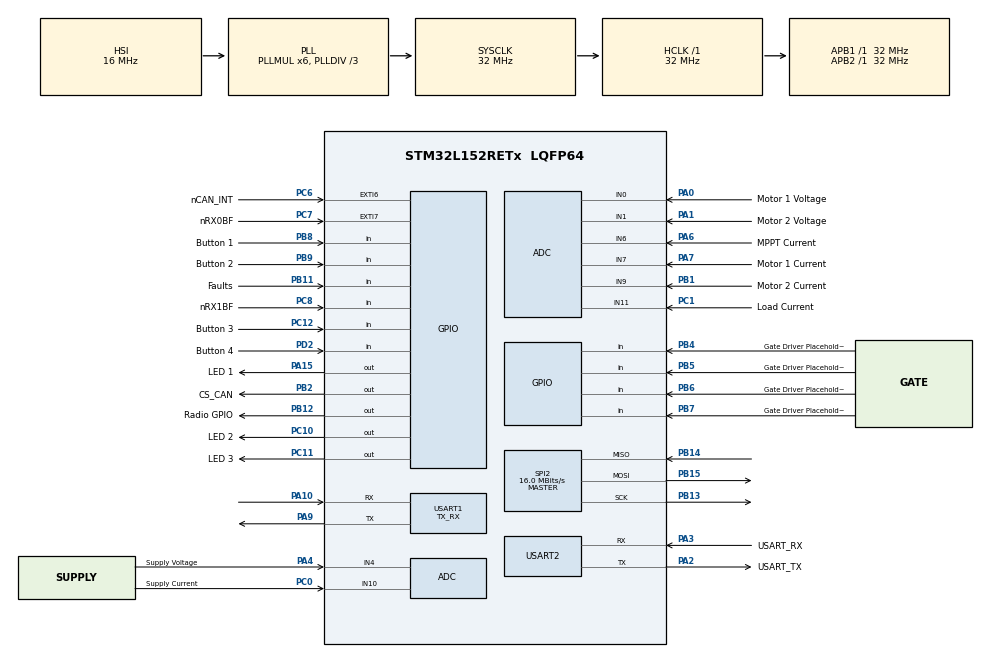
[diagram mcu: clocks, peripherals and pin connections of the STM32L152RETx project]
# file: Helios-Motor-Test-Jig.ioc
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ADC.Channel-0\#ChannelRegularConversion=ADC_CHANNEL_0
ADC.Channel-1\#ChannelRegularConversion=ADC_CHANNEL_1
ADC.Channel-2\#ChannelRegularConversion=ADC_CHANNEL_4
ADC.Channel-3\#ChannelRegularConversion=ADC_CHANNEL_6
ADC.Channel-5\#ChannelRegularConversion=ADC_CHANNEL_7
ADC.Channel-6\#ChannelRegularConversion=ADC_CHANNEL_9
ADC.Channel-7\#ChannelRegularConversion=ADC_CHANNEL_10
ADC.Channel-8\#ChannelRegularConversion=ADC_CHANNEL_11
ADC.ClockPrescaler=ADC_CLOCK_ASYNC_DIV1
ADC.ContinuousConvMode=DISABLE
ADC.DMAContinuousRequests=ENABLE
ADC.EOCSelection=ADC_EOC_SINGLE_CONV
ADC.EnableAnalogWatchDog=false
ADC.ExternalTrigConv=ADC_EXTERNALTRIGCONV_T6_TRGO
ADC.ExternalTrigConvEdge=ADC_EXTERNALTRIGCONVEDGE_RISING
ADC.NbrOfConversion=8
ADC.NbrOfConversionFlag=1
ADC.Rank-0\#ChannelRegularConversion=1
ADC.Rank-1\#ChannelRegularConversion=2
ADC.Rank-2\#ChannelRegularConversion=3
ADC.Rank-3\#ChannelRegularConversion=4
ADC.Rank-5\#ChannelRegularConversion=5
ADC.Rank-6\#ChannelRegularConversion=6
ADC.Rank-7\#ChannelRegularConversion=7
ADC.Rank-8\#ChannelRegularConversion=8
ADC.SamplingTime-0\#ChannelRegularConversion=ADC_SAMPLETIME_4CYCLES
ADC.SamplingTime-1\#ChannelRegularConversion=ADC_SAMPLETIME_4CYCLES
ADC.SamplingTime-2\#ChannelRegularConversion=ADC_SAMPLETIME_4CYCLES
ADC.SamplingTime-3\#ChannelRegularConversion=ADC_SAMPLETIME_4CYCLES
ADC.SamplingTime-5\#ChannelRegularConversion=ADC_SAMPLETIME_4CYCLES
ADC.SamplingTime-6\#ChannelRegularConversion=ADC_SAMPLETIME_4CYCLES
ADC.SamplingTime-7\#ChannelRegularConversion=ADC_SAMPLETIME_4CYCLES
ADC.SamplingTime-8\#ChannelRegularConversion=ADC_SAMPLETIME_4CYCLES
ADC.ScanConvMode=ADC_SCAN_ENABLE
Dma.ADC.0.Direction=DMA_PERIPH_TO_MEMORY
Dma.ADC.0.Instance=DMA1_Channel1
Dma.ADC.0.MemDataAlignment=DMA_MDATAALIGN_HALFWORD
Dma.ADC.0.MemInc=DMA_MINC_ENABLE
Dma.ADC.0.Mode=DMA_CIRCULAR
Dma.ADC.0.PeriphDataAlignment=DMA_PDATAALIGN_HALFWORD
Dma.ADC.0.PeriphInc=DMA_PINC_DISABLE
Dma.ADC.0.Priority=DMA_PRIORITY_HIGH
Dma.Request0=ADC
Dma.Request1=USART2_RX
Dma.Request2=USART1_TX
Dma.USART1_TX.2.Direction=DMA_MEMORY_TO_PERIPH
Dma.USART1_TX.2.Instance=DMA1_Channel4
Dma.USART1_TX.2.MemDataAlignment=DMA_MDATAALIGN_BYTE
Dma.USART1_TX.2.MemInc=DMA_MINC_ENABLE
Dma.USART1_TX.2.Mode=DMA_NORMAL
Dma.USART1_TX.2.PeriphDataAlignment=DMA_PDATAALIGN_BYTE
Dma.USART1_TX.2.PeriphInc=DMA_PINC_DISABLE
Dma.USART1_TX.2.Priority=DMA_PRIORITY_VERY_HIGH
Dma.USART2_RX.1.Direction=DMA_PERIPH_TO_MEMORY
Dma.USART2_RX.1.Instance=DMA1_Channel6
Dma.USART2_RX.1.MemDataAlignment=DMA_MDATAALIGN_BYTE
Dma.USART2_RX.1.MemInc=DMA_MINC_ENABLE
Dma.USART2_RX.1.Mode=DMA_NORMAL
Dma.USART2_RX.1.PeriphDataAlignment=DMA_PDATAALIGN_BYTE
Dma.USART2_RX.1.PeriphInc=DMA_PINC_DISABLE
Dma.USART2_RX.1.Priority=DMA_PRIORITY_LOW
Mcu.Family=STM32L1
Mcu.Name=STM32L152RETx
Mcu.Package=LQFP64
NVIC.ADC1_IRQn=true\:0\:0\:false\:false\:true\:true\:true\:true
NVIC.DMA1_Channel1_IRQn=true\:0\:0\:false\:false\:true\:false\:true\:true
NVIC.DMA1_Channel4_IRQn=true\:0\:0\:false\:false\:true\:false\:true\:true
NVIC.DMA1_Channel6_IRQn=true\:0\:0\:false\:false\:true\:false\:true\:true
NVIC.PriorityGroup=NVIC_PRIORITYGROUP_4
NVIC.TIM2_IRQn=true\:15\:0\:false\:false\:true\:false\:true\:true
NVIC.TIM6_IRQn=true\:5\:0\:true\:false\:true\:true\:true\:true
NVIC.TIM7_IRQn=true\:6\:0\:true\:false\:true\:true\:true\:true
NVIC.TimeBase=TIM2_IRQn
NVIC.TimeBaseIP=TIM2
NVIC.USART1_IRQn=true\:0\:0\:false\:false\:true\:true\:true\:true
NVIC.USART2_IRQn=true\:0\:0\:false\:false\:true\:true\:true\:true
PA0-WKUP1.GPIO_Label=Motor 1 Voltage
PA0-WKUP1.Mode=IN0
PA0-WKUP1.Signal=ADC_IN0
PA1.GPIO_Label=Motor 2 Voltage
PA1.Mode=IN1
PA1.Signal=ADC_IN1
PA10.Mode=Asynchronous
PA10.Signal=USART1_RX
PA13.GPIO_Label=TMS
PA13.Mode=Serial_Wire
PA13.Signal=SYS_JTMS-SWDIO
PA14.GPIO_Label=TCK
PA14.Mode=Serial_Wire
PA14.Signal=SYS_JTCK-SWCLK
PA15.GPIO_Label=LED 1
PA15.Signal=GPIO_Output
PA2.GPIO_Label=USART_TX
PA2.Mode=Asynchronous
PA2.Signal=USART2_TX
PA3.GPIO_Label=USART_RX
PA3.Mode=Asynchronous
PA3.Signal=USART2_RX
PA4.GPIO_Label=Supply Voltage
PA4.Mode=IN4
PA4.Signal=ADC_IN4
PA6.GPIO_Label=MPPT Current
PA6.Mode=IN6
PA6.Signal=ADC_IN6
PA7.GPIO_Label=Motor 1 Current
PA7.Mode=IN7
PA7.Signal=ADC_IN7
PA9.Mode=Asynchronous
PA9.Signal=USART1_TX
PB1.GPIO_Label=Motor 2 Current
PB1.Mode=IN9
PB1.Signal=ADC_IN9
PB11.GPIO_Label=Faults
PB11.Signal=GPIO_Input
PB12.GPIO_Label=Radio GPIO
PB12.PinState=GPIO_PIN_SET
PB12.Signal=GPIO_Output
PB13.Mode=Full_Duplex_Master
PB13.Signal=SPI2_SCK
PB14.Mode=Full_Duplex_Master
PB14.Signal=SPI2_MISO
PB15.Mode=Full_Duplex_Master
PB15.Signal=SPI2_MOSI
PB2.GPIO_Label=CS_CAN
PB2.Signal=GPIO_Output
PB3.GPIO_Label=SWO
PB3.Signal=SYS_JTDO-TRACESWO
PB4.GPIO_Label=Gate Driver Placeholder 1
PB4.Signal=GPIO_Input
PB5.GPIO_Label=Gate Driver Placeholder 2
PB5.Signal=GPIO_Input
PB6.GPIO_Label=Gate Driver Placeholder 3
PB6.Signal=GPIO_Input
PB7.GPIO_Label=Gate Driver Placeholder 4
PB7.Signal=GPIO_Input
PB8.GPIO_Label=Button 1
PB8.Signal=GPIO_Input
PB9.GPIO_Label=Button 2
PB9.Signal=GPIO_Input
PC0.GPIO_Label=Supply Current
PC0.Mode=IN10
PC0.Signal=ADC_IN10
PC1.GPIO_Label=Load Current
PC1.Mode=IN11
PC1.Signal=ADC_IN11
PC10.GPIO_Label=LED 2
PC10.Signal=GPIO_Output
PC11.GPIO_Label=LED 3
PC11.Signal=GPIO_Output
PC12.GPIO_Label=Button 3
PC12.Signal=GPIO_Input
PC14-OSC32_IN.Mode=LSE-External-Oscillator
PC14-OSC32_IN.Signal=RCC_OSC32_IN
PC15-OSC32_OUT.Mode=LSE-External-Oscillator
PC15-OSC32_OUT.Signal=RCC_OSC32_OUT
PC6.GPIO_Label=nCAN_INT
PC6.GPIO_ModeDefaultEXTI=GPIO_MODE_IT_FALLING
PC6.Signal=GPXTI6
PC7.GPIO_Label=nRX0BF
PC7.GPIO_ModeDefaultEXTI=GPIO_MODE_IT_FALLING
PC7.Signal=GPXTI7
PC8.GPIO_Label=nRX1BF
PC8.Signal=GPIO_Input
PC9.Signal=TIMX_IC2
PD2.GPIO_Label=Button 4
PD2.Signal=GPIO_Input
PH0-OSC_IN.Mode=HSE-External-Oscillator
PH0-OSC_IN.Signal=RCC_OSC_IN
PH1-OSC_OUT.Mode=HSE-External-Oscillator
PH1-OSC_OUT.Signal=RCC_OSC_OUT
ProjectManager.HeapSize=0x200
ProjectManager.StackSize=0x400
ProjectManager.TargetToolchain=STM32CubeIDE
RCC.48MHZClocksFreq_Value=48000000
RCC.AHBFreq_Value=32000000
RCC.APB1Freq_Value=32000000
RCC.APB1TimFreq_Value=32000000
RCC.APB2Freq_Value=32000000
RCC.APB2TimFreq_Value=32000000
RCC.HCLKFreq_Value=32000000
RCC.HSE_VALUE=8000000
RCC.HSI_VALUE=16000000
RCC.MSI_VALUE=2097000
RCC.PLLDIV=RCC_PLL_DIV3
RCC.PLLMUL=RCC_PLL_MUL6
RCC.RTCClockSelectionVirtual=RCC_RTCCLKSOURCE_LSE
RCC.SYSCLKFreq_VALUE=32000000
RCC.SYSCLKSource=RCC_SYSCLKSOURCE_PLLCLK
RCC.USBOutput=48000000
RCC.VCOOutputFreq_Value=96000000
SPI2.CalculateBaudRate=16.0 MBits/s
SPI2.Direction=SPI_DIRECTION_2LINES
SPI2.Mode=SPI_MODE_MASTER
SPI2.VirtualType=VM_MASTER
TIM6.AutoReloadPreload=TIM_AUTORELOAD_PRELOAD_ENABLE
TIM6.Prescaler=0
TIM6.TIM_MasterOutputTrigger=TIM_TRGO_UPDATE
TIM7.AutoReloadPreload=TIM_AUTORELOAD_PRELOAD_ENABLE
TIM7.Period=999
TIM7.Prescaler=319
TIM7.TIM_MasterOutputTrigger=TIM_TRGO_UPDATE
USART1.Mode=MODE_TX_RX
USART1.VirtualMode=VM_ASYNC
USART2.VirtualMode=VM_ASYNC
VP_SYS_VS_tim2.Mode=TIM2
VP_TIM6_VS_ClockSourceINT.Mode=Enable_Timer
VP_TIM7_VS_ClockSourceINT.Mode=Enable_Timer
board=NUCLEO-L152RE

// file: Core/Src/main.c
/* USER CODE BEGIN Header */
/**
  ******************************************************************************
  * @file           : main.c
  * @brief          : Main program body
  ******************************************************************************
  * @attention
  *
  * Copyright (c) 2024 STMicroelectronics.
  * All rights reserved.
  *
  * This software is licensed under terms that can be found in the LICENSE file
  * in the root directory of this software component.
  * If no LICENSE file comes with this software, it is provided AS-IS.
  *
  ******************************************************************************
  */
/* USER CODE END Header */
#include "main.h"

/* USER CODE BEGIN Includes */
#include <string.h>
#include "MotorControlTask.h"
#include "CAN.h"
#include "CANRegisters.h"
/* USER CODE END Includes */

ADC_HandleTypeDef hadc;
DMA_HandleTypeDef hdma_adc;

SPI_HandleTypeDef hspi2;

TIM_HandleTypeDef htim6;
TIM_HandleTypeDef htim7;

UART_HandleTypeDef huart1;
UART_HandleTypeDef huart2;
DMA_HandleTypeDef hdma_usart1_tx;
DMA_HandleTypeDef hdma_usart2_rx;

/* USER CODE BEGIN PV */
CANPeripheral peripheral1 = {
	.CS_PORT = GPIOB,
	.CS_PIN = GPIO_PIN_2,
	.hspi = &hspi2
};
/* USER CODE END PV */

void SystemClock_Config(void);
static void MX_GPIO_Init(void);
static void MX_DMA_Init(void);
static void MX_ADC_Init(void);
static void MX_SPI2_Init(void);
static void MX_USART1_UART_Init(void);
static void MX_TIM6_Init(void);
static void MX_TIM7_Init(void);
static void MX_USART2_UART_Init(void);

/* USER CODE BEGIN 0 */
// Buffers
uint16_t dma_adc_buf[ADC_BUF_LEN] = {0};
uint8_t dma_uart_command_buf[UART_BUF_LEN] = {0};
uint8_t dma_uart_logging_buf[UART_BUF_LEN] = {0};

uint8_t* command_end = &dma_uart_command_buf[0];
uint8_t last_message[UART_BUF_LEN] = {0};

// Motor Commands
Motor_cmd motor_cmd;
Motor_cmd last_motor_cmd;

// Status and Enables
uint8_t adc_log_en = 0;
int8_t parse_status = 0;

//motor variablesS
int16_t motor_rpm;
int16_t motor_torque;
int16_t inv_peak_cur;

/* USER CODE END 0 */

int main(void)
{

  /* MCU Configuration--------------------------------------------------------*/

  /* Reset of all peripherals, Initializes the Flash interface and the Systick. */
  HAL_Init();

  /* Configure the system clock */
  SystemClock_Config();

  /* Initialize all configured peripherals */
  MX_GPIO_Init();
  MX_DMA_Init();
  MX_ADC_Init();
  MX_SPI2_Init();
  MX_USART1_UART_Init();
  MX_TIM6_Init();
  MX_TIM7_Init();
  MX_USART2_UART_Init();
  /* USER CODE BEGIN 2 */
  HAL_ADC_Start_DMA(&hadc, (uint32_t*)dma_adc_buf, ADC_BUF_LEN);
  HAL_TIM_Base_Start(&htim6);
  HAL_UART_Receive_DMA(&huart2, dma_uart_command_buf, UART_BUF_LEN);

  motor_cmd = motor_cmd_init();
  last_motor_cmd = motor_cmd_init();

  // Start Timer 7 for Motor Safety Task ADC Logging
  HAL_TIM_Base_Start_IT(&htim7);

  // Start Timer 6 for Motor Safety Task
  HAL_TIM_Base_Start_IT(&htim6);

  /* USER CODE END 2 */

  /* Infinite loop */
  /* USER CODE BEGIN WHILE */
  while (1){
    // Polling for carriage return \r
    uint8_t command_status = CheckBuffer(dma_uart_command_buf, command_end);

    // Command Status 0 means that the command is still being received
    if(command_status == 0){
        command_end++;

    // Command Status 1 means that the command is ready to be parsed
    } else if(command_status == 1){
    	parse_status = ParseMotorCommand(&motor_cmd, dma_uart_command_buf, last_message, &adc_log_en, &last_motor_cmd, &huart2);

      if(parse_status != 1){
        char error_message[20] = {0};
        sprintf(error_message, "Command Error: %d\r\n", parse_status);
        HAL_UART_Transmit(&huart2, (uint8_t*)error_message, strlen(error_message), 100);
      }

    	HAL_UART_DMAStop(&huart2);
    	HAL_UART_Receive_DMA(&huart2, dma_uart_command_buf, UART_BUF_LEN);

    	memset(dma_uart_command_buf, 0, sizeof(dma_uart_command_buf));

    	command_end = &dma_uart_command_buf[0];
    }

    uint32_t command_end_addr = (uint32_t)command_end;
    uint32_t buf_end_addr = (uint32_t)(&dma_uart_command_buf[UART_BUF_LEN] - 1);

    if(command_end_addr >= buf_end_addr){
    	command_end = &dma_uart_command_buf[0];
    }
    /* USER CODE END WHILE */

  }
}

void SystemClock_Config(void)
{
  RCC_OscInitTypeDef RCC_OscInitStruct = {0};
  RCC_ClkInitTypeDef RCC_ClkInitStruct = {0};

  /** Configure the main internal regulator output voltage
  */
  __HAL_PWR_VOLTAGESCALING_CONFIG(PWR_REGULATOR_VOLTAGE_SCALE1);

  /** Initializes the RCC Oscillators according to the specified parameters
  * in the RCC_OscInitTypeDef structure.
  */
  RCC_OscInitStruct.OscillatorType = RCC_OSCILLATORTYPE_HSI;
  RCC_OscInitStruct.HSIState = RCC_HSI_ON;
  RCC_OscInitStruct.HSICalibrationValue = RCC_HSICALIBRATION_DEFAULT;
  RCC_OscInitStruct.PLL.PLLState = RCC_PLL_ON;
  RCC_OscInitStruct.PLL.PLLSource = RCC_PLLSOURCE_HSI;
  RCC_OscInitStruct.PLL.PLLMUL = RCC_PLL_MUL6;
  RCC_OscInitStruct.PLL.PLLDIV = RCC_PLL_DIV3;
  if (HAL_RCC_OscConfig(&RCC_OscInitStruct) != HAL_OK)
  {
    Error_Handler();
  }

  /** Initializes the CPU, AHB and APB buses clocks
  */
  RCC_ClkInitStruct.ClockType = RCC_CLOCKTYPE_HCLK|RCC_CLOCKTYPE_SYSCLK
                              |RCC_CLOCKTYPE_PCLK1|RCC_CLOCKTYPE_PCLK2;
  RCC_ClkInitStruct.SYSCLKSource = RCC_SYSCLKSOURCE_PLLCLK;
  RCC_ClkInitStruct.AHBCLKDivider = RCC_SYSCLK_DIV1;
  RCC_ClkInitStruct.APB1CLKDivider = RCC_HCLK_DIV1;
  RCC_ClkInitStruct.APB2CLKDivider = RCC_HCLK_DIV1;

  if (HAL_RCC_ClockConfig(&RCC_ClkInitStruct, FLASH_LATENCY_1) != HAL_OK)
  {
    Error_Handler();
  }
}

static void MX_ADC_Init(void)
{

  ADC_ChannelConfTypeDef sConfig = {0};

  /** Configure the global features of the ADC (Clock, Resolution, Data Alignment and number of conversion)
  */
  hadc.Instance = ADC1;
  hadc.Init.ClockPrescaler = ADC_CLOCK_ASYNC_DIV1;
  hadc.Init.Resolution = ADC_RESOLUTION_12B;
  hadc.Init.DataAlign = ADC_DATAALIGN_RIGHT;
  hadc.Init.ScanConvMode = ADC_SCAN_ENABLE;
  hadc.Init.EOCSelection = ADC_EOC_SINGLE_CONV;
  hadc.Init.LowPowerAutoWait = ADC_AUTOWAIT_DISABLE;
  hadc.Init.LowPowerAutoPowerOff = ADC_AUTOPOWEROFF_DISABLE;
  hadc.Init.ChannelsBank = ADC_CHANNELS_BANK_A;
  hadc.Init.ContinuousConvMode = DISABLE;
  hadc.Init.NbrOfConversion = 8;
  hadc.Init.DiscontinuousConvMode = DISABLE;
  hadc.Init.ExternalTrigConv = ADC_EXTERNALTRIGCONV_T6_TRGO;
  hadc.Init.ExternalTrigConvEdge = ADC_EXTERNALTRIGCONVEDGE_RISING;
  hadc.Init.DMAContinuousRequests = ENABLE;
  if (HAL_ADC_Init(&hadc) != HAL_OK)
  {
    Error_Handler();
  }

  /** Configure for the selected ADC regular channel its corresponding rank in the sequencer and its sample time.
  */
  sConfig.Channel = ADC_CHANNEL_0;
  sConfig.Rank = ADC_REGULAR_RANK_1;
  sConfig.SamplingTime = ADC_SAMPLETIME_4CYCLES;
  if (HAL_ADC_ConfigChannel(&hadc, &sConfig) != HAL_OK)
  {
    Error_Handler();
  }

  /** Configure for the selected ADC regular channel its corresponding rank in the sequencer and its sample time.
  */
  sConfig.Channel = ADC_CHANNEL_1;
  sConfig.Rank = ADC_REGULAR_RANK_2;
  if (HAL_ADC_ConfigChannel(&hadc, &sConfig) != HAL_OK)
  {
    Error_Handler();
  }

  /** Configure for the selected ADC regular channel its corresponding rank in the sequencer and its sample time.
  */
  sConfig.Channel = ADC_CHANNEL_4;
  sConfig.Rank = ADC_REGULAR_RANK_3;
  if (HAL_ADC_ConfigChannel(&hadc, &sConfig) != HAL_OK)
  {
    Error_Handler();
  }

  /** Configure for the selected ADC regular channel its corresponding rank in the sequencer and its sample time.
  */
  sConfig.Channel = ADC_CHANNEL_6;
  sConfig.Rank = ADC_REGULAR_RANK_4;
  if (HAL_ADC_ConfigChannel(&hadc, &sConfig) != HAL_OK)
  {
    Error_Handler();
  }

  /** Configure for the selected ADC regular channel its corresponding rank in the sequencer and its sample time.
  */
  sConfig.Channel = ADC_CHANNEL_7;
  sConfig.Rank = ADC_REGULAR_RANK_5;
  if (HAL_ADC_ConfigChannel(&hadc, &sConfig) != HAL_OK)
  {
    Error_Handler();
  }

  /** Configure for the selected ADC regular channel its corresponding rank in the sequencer and its sample time.
  */
  sConfig.Channel = ADC_CHANNEL_9;
  sConfig.Rank = ADC_REGULAR_RANK_6;
  if (HAL_ADC_ConfigChannel(&hadc, &sConfig) != HAL_OK)
  {
    Error_Handler();
  }

  /** Configure for the selected ADC regular channel its corresponding rank in the sequencer and its sample time.
  */
  sConfig.Channel = ADC_CHANNEL_10;
  sConfig.Rank = ADC_REGULAR_RANK_7;
  if (HAL_ADC_ConfigChannel(&hadc, &sConfig) != HAL_OK)
  {
    Error_Handler();
  }

  /** Configure for the selected ADC regular channel its corresponding rank in the sequencer and its sample time.
  */
  sConfig.Channel = ADC_CHANNEL_11;
  sConfig.Rank = ADC_REGULAR_RANK_8;
  if (HAL_ADC_ConfigChannel(&hadc, &sConfig) != HAL_OK)
  {
    Error_Handler();
  }

}

static void MX_SPI2_Init(void)
{

  /* SPI2 parameter configuration*/
  hspi2.Instance = SPI2;
  hspi2.Init.Mode = SPI_MODE_MASTER;
  hspi2.Init.Direction = SPI_DIRECTION_2LINES;
  hspi2.Init.DataSize = SPI_DATASIZE_8BIT;
  hspi2.Init.CLKPolarity = SPI_POLARITY_LOW;
  hspi2.Init.CLKPhase = SPI_PHASE_1EDGE;
  hspi2.Init.NSS = SPI_NSS_SOFT;
  hspi2.Init.BaudRatePrescaler = SPI_BAUDRATEPRESCALER_2;
  hspi2.Init.FirstBit = SPI_FIRSTBIT_MSB;
  hspi2.Init.TIMode = SPI_TIMODE_DISABLE;
  hspi2.Init.CRCCalculation = SPI_CRCCALCULATION_DISABLE;
  hspi2.Init.CRCPolynomial = 10;
  if (HAL_SPI_Init(&hspi2) != HAL_OK)
  {
    Error_Handler();
  }

}

static void MX_TIM6_Init(void)
{

  TIM_MasterConfigTypeDef sMasterConfig = {0};

  htim6.Instance = TIM6;
  htim6.Init.Prescaler = 0;
  htim6.Init.CounterMode = TIM_COUNTERMODE_UP;
  htim6.Init.Period = 65535;
  htim6.Init.AutoReloadPreload = TIM_AUTORELOAD_PRELOAD_ENABLE;
  if (HAL_TIM_Base_Init(&htim6) != HAL_OK)
  {
    Error_Handler();
  }
  sMasterConfig.MasterOutputTrigger = TIM_TRGO_UPDATE;
  sMasterConfig.MasterSlaveMode = TIM_MASTERSLAVEMODE_DISABLE;
  if (HAL_TIMEx_MasterConfigSynchronization(&htim6, &sMasterConfig) != HAL_OK)
  {
    Error_Handler();
  }

}

static void MX_TIM7_Init(void)
{

  TIM_MasterConfigTypeDef sMasterConfig = {0};

  htim7.Instance = TIM7;
  htim7.Init.Prescaler = 319;
  htim7.Init.CounterMode = TIM_COUNTERMODE_UP;
  htim7.Init.Period = 999;
  htim7.Init.AutoReloadPreload = TIM_AUTORELOAD_PRELOAD_ENABLE;
  if (HAL_TIM_Base_Init(&htim7) != HAL_OK)
  {
    Error_Handler();
  }
  sMasterConfig.MasterOutputTrigger = TIM_TRGO_UPDATE;
  sMasterConfig.MasterSlaveMode = TIM_MASTERSLAVEMODE_DISABLE;
  if (HAL_TIMEx_MasterConfigSynchronization(&htim7, &sMasterConfig) != HAL_OK)
  {
    Error_Handler();
  }

}

static void MX_USART1_UART_Init(void)
{

  huart1.Instance = USART1;
  huart1.Init.BaudRate = 115200;
  huart1.Init.WordLength = UART_WORDLENGTH_8B;
  huart1.Init.StopBits = UART_STOPBITS_1;
  huart1.Init.Parity = UART_PARITY_NONE;
  huart1.Init.Mode = UART_MODE_TX_RX;
  huart1.Init.HwFlowCtl = UART_HWCONTROL_NONE;
  huart1.Init.OverSampling = UART_OVERSAMPLING_16;
  if (HAL_UART_Init(&huart1) != HAL_OK)
  {
    Error_Handler();
  }

}

static void MX_USART2_UART_Init(void)
{

  huart2.Instance = USART2;
  huart2.Init.BaudRate = 115200;
  huart2.Init.WordLength = UART_WORDLENGTH_8B;
  huart2.Init.StopBits = UART_STOPBITS_1;
  huart2.Init.Parity = UART_PARITY_NONE;
  huart2.Init.Mode = UART_MODE_TX_RX;
  huart2.Init.HwFlowCtl = UART_HWCONTROL_NONE;
  huart2.Init.OverSampling = UART_OVERSAMPLING_16;
  if (HAL_UART_Init(&huart2) != HAL_OK)
  {
    Error_Handler();
  }

}

static void MX_DMA_Init(void)
{

  /* DMA controller clock enable */
  __HAL_RCC_DMA1_CLK_ENABLE();

  /* DMA interrupt init */
  /* DMA1_Channel1_IRQn interrupt configuration */
  HAL_NVIC_SetPriority(DMA1_Channel1_IRQn, 0, 0);
  HAL_NVIC_EnableIRQ(DMA1_Channel1_IRQn);
  /* DMA1_Channel4_IRQn interrupt configuration */
  HAL_NVIC_SetPriority(DMA1_Channel4_IRQn, 0, 0);
  HAL_NVIC_EnableIRQ(DMA1_Channel4_IRQn);
  /* DMA1_Channel6_IRQn interrupt configuration */
  HAL_NVIC_SetPriority(DMA1_Channel6_IRQn, 0, 0);
  HAL_NVIC_EnableIRQ(DMA1_Channel6_IRQn);

}

static void MX_GPIO_Init(void)
{
  GPIO_InitTypeDef GPIO_InitStruct = {0};

  /* GPIO Ports Clock Enable */
  __HAL_RCC_GPIOC_CLK_ENABLE();
  __HAL_RCC_GPIOH_CLK_ENABLE();
  __HAL_RCC_GPIOA_CLK_ENABLE();
  __HAL_RCC_GPIOB_CLK_ENABLE();
  __HAL_RCC_GPIOD_CLK_ENABLE();

  /*Configure GPIO pin Output Level */
  HAL_GPIO_WritePin(CS_CAN_GPIO_Port, CS_CAN_Pin, GPIO_PIN_RESET);

  /*Configure GPIO pin Output Level */
  HAL_GPIO_WritePin(Radio_GPIO_GPIO_Port, Radio_GPIO_Pin, GPIO_PIN_SET);

  /*Configure GPIO pin Output Level */
  HAL_GPIO_WritePin(LED_1_GPIO_Port, LED_1_Pin, GPIO_PIN_RESET);

  /*Configure GPIO pin Output Level */
  HAL_GPIO_WritePin(GPIOC, LED_2_Pin|LED_3_Pin, GPIO_PIN_RESET);

  /*Configure GPIO pins : CS_CAN_Pin Radio_GPIO_Pin */
  GPIO_InitStruct.Pin = CS_CAN_Pin|Radio_GPIO_Pin;
  GPIO_InitStruct.Mode = GPIO_MODE_OUTPUT_PP;
  GPIO_InitStruct.Pull = GPIO_NOPULL;
  GPIO_InitStruct.Speed = GPIO_SPEED_FREQ_LOW;
  HAL_GPIO_Init(GPIOB, &GPIO_InitStruct);

  /*Configure GPIO pins : Faults_Pin Gate_Driver_Placeholder_1_Pin Gate_Driver_Placeholder_2_Pin Gate_Driver_Placeholder_3_Pin
                           Gate_Driver_Placeholder_4_Pin Button_1_Pin Button_2_Pin */
  GPIO_InitStruct.Pin = Faults_Pin|Gate_Driver_Placeholder_1_Pin|Gate_Driver_Placeholder_2_Pin|Gate_Driver_Placeholder_3_Pin
                          |Gate_Driver_Placeholder_4_Pin|Button_1_Pin|Button_2_Pin;
  GPIO_InitStruct.Mode = GPIO_MODE_INPUT;
  GPIO_InitStruct.Pull = GPIO_NOPULL;
  HAL_GPIO_Init(GPIOB, &GPIO_InitStruct);

  /*Configure GPIO pins : nCAN_INT_Pin nRX0BF_Pin */
  GPIO_InitStruct.Pin = nCAN_INT_Pin|nRX0BF_Pin;
  GPIO_InitStruct.Mode = GPIO_MODE_IT_FALLING;
  GPIO_InitStruct.Pull = GPIO_NOPULL;
  HAL_GPIO_Init(GPIOC, &GPIO_InitStruct);

  /*Configure GPIO pins : nRX1BF_Pin Button_3_Pin */
  GPIO_InitStruct.Pin = nRX1BF_Pin|Button_3_Pin;
  GPIO_InitStruct.Mode = GPIO_MODE_INPUT;
  GPIO_InitStruct.Pull = GPIO_NOPULL;
  HAL_GPIO_Init(GPIOC, &GPIO_InitStruct);

  /*Configure GPIO pin : PC9 */
  GPIO_InitStruct.Pin = GPIO_PIN_9;
  GPIO_InitStruct.Pull = GPIO_NOPULL;
  GPIO_InitStruct.Speed = GPIO_SPEED_FREQ_LOW;
  GPIO_InitStruct.Alternate = GPIO_AF14_TIM_IC2;
  HAL_GPIO_Init(GPIOC, &GPIO_InitStruct);

  /*Configure GPIO pin : LED_1_Pin */
  GPIO_InitStruct.Pin = LED_1_Pin;
  GPIO_InitStruct.Mode = GPIO_MODE_OUTPUT_PP;
  GPIO_InitStruct.Pull = GPIO_NOPULL;
  GPIO_InitStruct.Speed = GPIO_SPEED_FREQ_LOW;
  HAL_GPIO_Init(LED_1_GPIO_Port, &GPIO_InitStruct);

  /*Configure GPIO pins : LED_2_Pin LED_3_Pin */
  GPIO_InitStruct.Pin = LED_2_Pin|LED_3_Pin;
  GPIO_InitStruct.Mode = GPIO_MODE_OUTPUT_PP;
  GPIO_InitStruct.Pull = GPIO_NOPULL;
  GPIO_InitStruct.Speed = GPIO_SPEED_FREQ_LOW;
  HAL_GPIO_Init(GPIOC, &GPIO_InitStruct);

  /*Configure GPIO pin : Button_4_Pin */
  GPIO_InitStruct.Pin = Button_4_Pin;
  GPIO_InitStruct.Mode = GPIO_MODE_INPUT;
  GPIO_InitStruct.Pull = GPIO_NOPULL;
  HAL_GPIO_Init(Button_4_GPIO_Port, &GPIO_InitStruct);

}

void HAL_TIM_PeriodElapsedCallback(TIM_HandleTypeDef *htim)
{
  if (htim->Instance == TIM2) {
    HAL_IncTick();
  }
}

void Error_Handler(void)
{
  __disable_irq();
  while (1)
  {
  }
}
